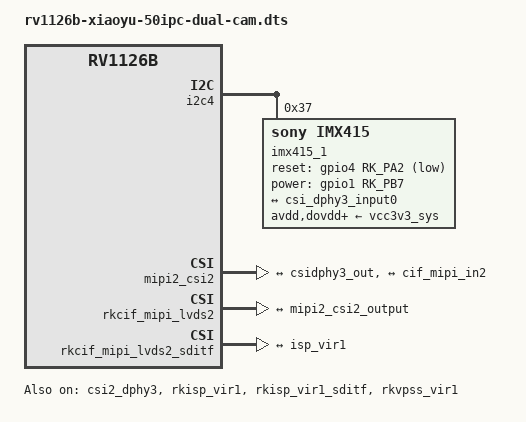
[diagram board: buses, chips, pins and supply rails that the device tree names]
// SPDX-License-Identifier: (GPL-2.0+ OR MIT)
/*
 * Copyright (c) 2025 Rockchip Electronics Co., Ltd.
 * Copyright (c) 2026 flippy (flippy@sina.com)
 */

#include "rv1126b-xiaoyu-50ipc.dts"

/*
 * csi2_dphy0 -> csi0(rx0) clk0 + 4 lane ==> imx415_0
 * csi2_dphy1 -> csi0(rx0) clk0 + 2 lane 0/1
 * csi2_dphy2 -> csi0(rx0) clk1 + 2 lane 2/3
 * csi2_dphy3 -> csi1(rx1) clk0 + 4 lane ==> imx415_1
 * csi2_dphy4 -> csi1(rx1) clk0 + 2 lane 0/1
 * csi2_dphy5 -> csi1(rx1) clk1 + 2 lane 2/3
 */
&csi2_dphy3 {
	status = "okay";

	ports {
		#address-cells = <1>;
		#size-cells = <0>;

		port@0 {
			reg = <0>;
			#address-cells = <1>;
			#size-cells = <0>;

			csi_dphy3_input0: endpoint@1 {
				reg = <1>;
				remote-endpoint = <&imx415_out1>;
				data-lanes = <1 2 3 4>;
			};
		};

		port@1 {
			reg = <1>;
			#address-cells = <1>;
			#size-cells = <0>;

			csidphy3_out: endpoint@0 {
				reg = <0>;
				remote-endpoint = <&mipi2_csi2_input>;
			};
		};
	};
};

/* censor1 */
&i2c4 {
	status = "okay";
	pinctrl-0 = <&i2c4m2_pins>;

	imx415_1: imx415_1@37 {
		compatible = "sony,imx415";
		reg = <0x37>;
		clocks = <&cru CLK_MIPI2_OUT2IO>;
		clock-names = "xvclk";

		avdd-supply = <&vcc3v3_sys>;
		dovdd-supply = <&vcc3v3_sys>;
		dvdd-supply = <&vcc3v3_sys>;

		reset-gpios = <&gpio4 RK_PA2 GPIO_ACTIVE_LOW>;
		power-gpios = <&gpio1 RK_PB7 GPIO_ACTIVE_HIGH>;
		pinctrl-names = "default";
		pinctrl-0 = <&cam_clk2_pins>,
			    <&imx415_1_rst_l>,
			    <&imx415_1_pwr_h>;
		rockchip,camera-module-index = <1>;
		rockchip,camera-module-facing = "back";
		rockchip,camera-module-name = "default";
		rockchip,camera-module-lens-name = "default";
		port {
			imx415_out1: endpoint {
				remote-endpoint = <&csi_dphy3_input0>;
				data-lanes = <1 2 3 4>;
			};
		};
	};
};

&mipi2_csi2 {
	status = "okay";

	ports {
		#address-cells = <1>;
		#size-cells = <0>;

		port@0 {
			reg = <0>;
			#address-cells = <1>;
			#size-cells = <0>;

			mipi2_csi2_input: endpoint@1 {
				reg = <1>;
				remote-endpoint = <&csidphy3_out>;
			};
		};

		port@1 {
			reg = <1>;
			#address-cells = <1>;
			#size-cells = <0>;

			mipi2_csi2_output: endpoint@0 {
				reg = <0>;
				remote-endpoint = <&cif_mipi_in2>;
			};
		};
	};
};

&pinctrl {
	sensors {
		imx415_1_rst_l: imx415-1-rst-l {
			rockchip,pins = <4 RK_PA2 RK_FUNC_GPIO &pcfg_pull_up>;
		};

		imx415_1_pwr_h: imx415-1-pwr-h {
			rockchip,pins = <1 RK_PB7 RK_FUNC_GPIO &pcfg_pull_none>;
		};
	};
};

&rkcif_mipi_lvds2 {
	status = "okay";

	port {
		cif_mipi_in2: endpoint {
			remote-endpoint = <&mipi2_csi2_output>;
		};
	};
};

&rkcif_mipi_lvds2_sditf {
	status = "okay";

	port {
		mipi_lvds2_sditf: endpoint {
			remote-endpoint = <&isp_vir1>;
		};
	};
};

&rkisp_vir1 {
	status = "okay";

	port {
		#address-cells = <1>;
		#size-cells = <0>;

		isp_vir1: endpoint@0 {
			reg = <0>;
			remote-endpoint = <&mipi_lvds2_sditf>;
		};
	};
};

&rkisp_vir1_sditf {
	status = "okay";
};

&rkvpss_vir1 {
	status = "okay";
};
